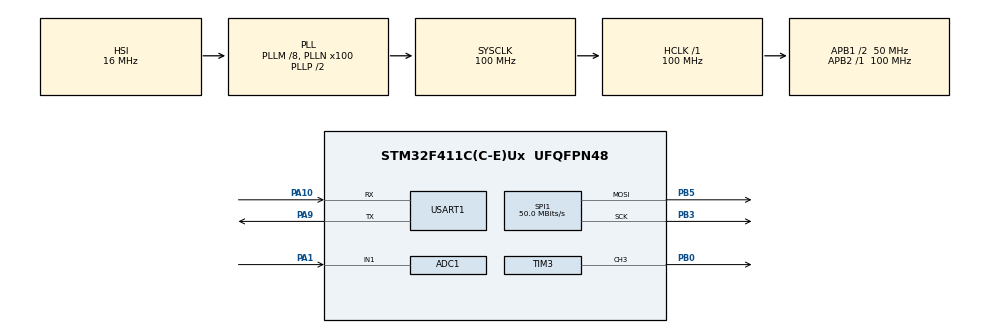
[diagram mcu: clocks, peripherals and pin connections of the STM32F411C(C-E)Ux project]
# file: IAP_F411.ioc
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ADC1.Channel-0\#ChannelRegularConversion=ADC_CHANNEL_1
ADC1.NbrOfConversionFlag=1
ADC1.Rank-0\#ChannelRegularConversion=1
ADC1.SamplingTime-0\#ChannelRegularConversion=ADC_SAMPLETIME_3CYCLES
ADC1.master=1
Mcu.Family=STM32F4
Mcu.Name=STM32F411C(C-E)Ux
Mcu.Package=UFQFPN48
NVIC.PriorityGroup=NVIC_PRIORITYGROUP_4
PA1.Signal=ADCx_IN1
PA10.Mode=Asynchronous
PA10.Signal=USART1_RX
PA13.Mode=Serial_Wire
PA13.Signal=SYS_JTMS-SWDIO
PA14.Mode=Serial_Wire
PA14.Signal=SYS_JTCK-SWCLK
PA9.Mode=Asynchronous
PA9.Signal=USART1_TX
PB0.Signal=S_TIM3_CH3
PB3.Mode=TX_Only_Simplex_Unidirect_Master
PB3.Signal=SPI1_SCK
PB5.Mode=TX_Only_Simplex_Unidirect_Master
PB5.Signal=SPI1_MOSI
ProjectManager.HeapSize=0x200
ProjectManager.StackSize=0x400
ProjectManager.TargetToolchain=MDK-ARM V5.27
RCC.48MHZClocksFreq_Value=50000000
RCC.AHBFreq_Value=100000000
RCC.APB1CLKDivider=RCC_HCLK_DIV2
RCC.APB1Freq_Value=50000000
RCC.APB1TimFreq_Value=100000000
RCC.APB2Freq_Value=100000000
RCC.APB2TimFreq_Value=100000000
RCC.CortexFreq_Value=100000000
RCC.HCLKFreq_Value=100000000
RCC.HSE_VALUE=25000000
RCC.HSI_VALUE=16000000
RCC.LSE_VALUE=32768
RCC.PLLM=8
RCC.PLLN=100
RCC.SYSCLKFreq_VALUE=100000000
RCC.SYSCLKSource=RCC_SYSCLKSOURCE_PLLCLK
RCC.VCOOutputFreq_Value=200000000
SH.ADCx_IN1.0=ADC1_IN1,IN1
SH.S_TIM3_CH3.0=TIM3_CH3,PWM Generation3 CH3
SPI1.CLKPhase=SPI_PHASE_2EDGE
SPI1.CLKPolarity=SPI_POLARITY_HIGH
SPI1.CalculateBaudRate=50.0 MBits/s
SPI1.Direction=SPI_DIRECTION_2LINES
SPI1.Mode=SPI_MODE_MASTER
SPI1.VirtualType=VM_MASTER
TIM3.Channel-PWM\ Generation3\ CH3=TIM_CHANNEL_3
TIM3.Period=300
TIM3.Prescaler=99
USART1.VirtualMode=VM_ASYNC
board=custom

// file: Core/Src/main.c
/* USER CODE BEGIN Header */
/**
  ******************************************************************************
  * @file           : main.c
  * @brief          : Main program body
  ******************************************************************************
  * @attention
  *
  * Copyright (c) 2024 STMicroelectronics.
  * All rights reserved.
  *
  * This software is licensed under terms that can be found in the LICENSE file
  * in the root directory of this software component.
  * If no LICENSE file comes with this software, it is provided AS-IS.
  *
  ******************************************************************************
  */
/* USER CODE END Header */
#include "main.h"
#include "adc.h"
#include "spi.h"
#include "tim.h"
#include "usart.h"
#include "gpio.h"

/* USER CODE BEGIN Includes */
#include "menu.h"
#include "delay.h"
#include "lcd.h"
#include "lcd_init.h"
#include "power.h"
#include "key.h"
#include "KT6328.h"
#include <string.h>
#include <stdio.h>
/* USER CODE END Includes */

/* USER CODE BEGIN PV */

uint8_t boot_in_menu_flag = 0;

extern pFunction Jump_To_Application;
extern uint32_t JumpAddress;

/* USER CODE END PV */

void SystemClock_Config(void);

int main(void)
{
  /* USER CODE BEGIN 1 */
	SCB->VTOR = FLASH_BASE;
  /* USER CODE END 1 */

  /* MCU Configuration--------------------------------------------------------*/

  /* Reset of all peripherals, Initializes the Flash interface and the Systick. */
  HAL_Init();

  /* Configure the system clock */
  SystemClock_Config();

  /* Initialize all configured peripherals */
  MX_GPIO_Init();
  MX_USART1_UART_Init();
  MX_SPI1_Init();
  MX_TIM3_Init();
  MX_ADC1_Init();
  /* USER CODE BEGIN 2 */

	//sys delay
	delay_init();

  //key
	Key_Port_Init();

	//BLE
	KT6328_GPIO_Init();
	KT6328_Enable();

	//power GPIO使能和电池供电使能
	// Power_Init();

	//PWM Start
	HAL_TIM_PWM_Start(&htim3, TIM_CHANNEL_3);

	//lcd
	LCD_Init();
	LCD_Fill(0, 0, LCD_W, LCD_H, BLACK);
	delay_ms(10);
	LCD_Set_Light(50);

  //开机启动时如果按下KEY1, 进入boot中IAP升级模式
  if(HAL_GPIO_ReadPin(KEY1_PORT, KEY1_PIN) == 0)
  {
		// 延时判断是否真的按下
    delay_ms(500);
    if(HAL_GPIO_ReadPin(KEY1_PORT, KEY1_PIN) == 0)
    {

      LCD_ShowString(72, LCD_H/2, (uint8_t*)"Bootload", WHITE, BLACK, 24, 0);//12*6,16*8,24*12,32*16
      LCD_ShowString(32, LCD_H/2+48, (uint8_t*)"OV-Watch V2.4.1", WHITE, BLACK, 24, 0);

			boot_in_menu_flag = 1;

      //go in boot menu
      FLASH_If_Init();
      Main_Menu();
    }
  }

  //如果没按下KEY1, 且有APP程序, 则运行APP, 没有APP则
  else
  {
    uint32_t data1, data2;
    char *str_flag;
    uint32_t address = 0x08008000; // Flash 中数据的起始地址

    // 读取地址为 0x08008000 的数据
    data1 = *(uint32_t *)address;

    // 读取地址为 0x08008004 的数据
    data2 = *(uint32_t *)(address + sizeof(uint32_t));

    // 将数据转换为字符数组
    char str1[5], str2[5];
    memcpy(str1, &data1, sizeof(data1));
    memcpy(str2, &data2, sizeof(data2));
    str1[4] = '\0';
    str2[4] = '\0';

    // 拼接两个字符数组
    char combined_str[9];
    strcpy(combined_str, str1);
    strcat(combined_str, str2);

    // 检查是否与 "APP FLAG" 相同
    if (strcmp(combined_str, "APP FLAG") == 0)
    {
        // 如果相同则跳转
        printf("APP FLAG OK, jump to app\r\n");
        //user code here
        SysTick->CTRL = 0X00;//禁止SysTick
        SysTick->LOAD = 0;
        SysTick->VAL = 0;
        __disable_irq();

        //set JumpAddress
        JumpAddress = *(__IO uint32_t*) (APPLICATION_ADDRESS + 4);
        /* Jump to user application */
        Jump_To_Application = (pFunction) JumpAddress;
        /* Initialize user application's Stack Pointer */
        __set_MSP(*(__IO uint32_t*) APPLICATION_ADDRESS);
        Jump_To_Application();
    }
		// no legal APP
		else
		{
			LCD_ShowString(74, LCD_H/2, (uint8_t*)"No App!", WHITE, BLACK, 24, 0);//12*6,16*8,24*12,32*16
      LCD_ShowString(32, LCD_H/2+48, (uint8_t*)"Please Download", WHITE, BLACK, 24, 0);
			HAL_Delay(1000);
		}
  }

  /* USER CODE END 2 */

  /* Infinite loop */
  while (1)
  {

    /* USER CODE BEGIN 3 */
		printf("run in boot while(1)\r\n");
    printf("there is no legal APP\r\n");
		HAL_Delay(500);
		Power_DisEnable();
  }
  /* USER CODE END 3 */
}

void SystemClock_Config(void)
{
  RCC_OscInitTypeDef RCC_OscInitStruct = {0};
  RCC_ClkInitTypeDef RCC_ClkInitStruct = {0};

  /** Configure the main internal regulator output voltage
  */
  __HAL_RCC_PWR_CLK_ENABLE();
  __HAL_PWR_VOLTAGESCALING_CONFIG(PWR_REGULATOR_VOLTAGE_SCALE1);

  /** Initializes the RCC Oscillators according to the specified parameters
  * in the RCC_OscInitTypeDef structure.
  */
  RCC_OscInitStruct.OscillatorType = RCC_OSCILLATORTYPE_HSI;
  RCC_OscInitStruct.HSIState = RCC_HSI_ON;
  RCC_OscInitStruct.HSICalibrationValue = RCC_HSICALIBRATION_DEFAULT;
  RCC_OscInitStruct.PLL.PLLState = RCC_PLL_ON;
  RCC_OscInitStruct.PLL.PLLSource = RCC_PLLSOURCE_HSI;
  RCC_OscInitStruct.PLL.PLLM = 8;
  RCC_OscInitStruct.PLL.PLLN = 100;
  RCC_OscInitStruct.PLL.PLLP = RCC_PLLP_DIV2;
  RCC_OscInitStruct.PLL.PLLQ = 4;
  if (HAL_RCC_OscConfig(&RCC_OscInitStruct) != HAL_OK)
  {
    Error_Handler();
  }

  /** Initializes the CPU, AHB and APB buses clocks
  */
  RCC_ClkInitStruct.ClockType = RCC_CLOCKTYPE_HCLK|RCC_CLOCKTYPE_SYSCLK
                              |RCC_CLOCKTYPE_PCLK1|RCC_CLOCKTYPE_PCLK2;
  RCC_ClkInitStruct.SYSCLKSource = RCC_SYSCLKSOURCE_PLLCLK;
  RCC_ClkInitStruct.AHBCLKDivider = RCC_SYSCLK_DIV1;
  RCC_ClkInitStruct.APB1CLKDivider = RCC_HCLK_DIV2;
  RCC_ClkInitStruct.APB2CLKDivider = RCC_HCLK_DIV1;

  if (HAL_RCC_ClockConfig(&RCC_ClkInitStruct, FLASH_LATENCY_3) != HAL_OK)
  {
    Error_Handler();
  }
}

void Error_Handler(void)
{
  __disable_irq();
  while (1)
  {
  }
}
